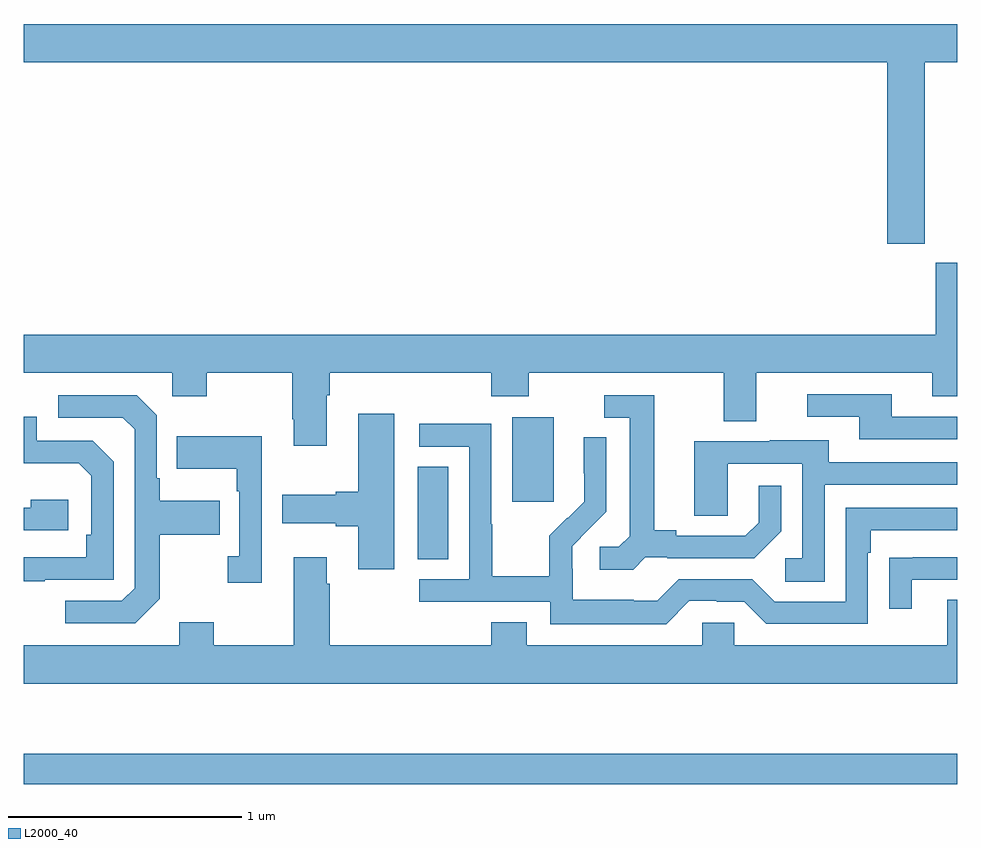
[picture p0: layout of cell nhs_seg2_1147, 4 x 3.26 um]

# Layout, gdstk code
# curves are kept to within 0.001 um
import gdstk
lib = gdstk.Library(unit=1e-6, precision=1e-09)
def R(c, l, rs):  # rectangles x0, y0, x1, y1
    for r in rs: c.add(gdstk.rectangle(r[:2], r[2:], *l))
def P(c, l, *ps):  # polygons
    for p in ps: c.add(gdstk.Polygon(p, *l))
L2000_40 = (2000, 40)

nhs_seg2_1147 = lib.new_cell('nhs_seg2_1147')
R(nhs_seg2_1147, L2000_40, [(171,601.918,175,602.047), (172.688,602.881,172.819,603.278), (173.093,603.129,173.272,603.49)])
P(nhs_seg2_1147, L2000_40, [(174.861,605.012),(175,605.012),(175,605.176),(171,605.176),(171,605.012),(174.701,605.012),(174.701,604.233),(174.861,604.233)],
  [(172.297,603.584),(172.31,603.584),(172.31,603.68),(173.003,603.68),(173.003,603.581),(173.163,603.581),(173.163,603.68),(173.999,603.68),(173.999,603.472),(174.139,603.472),(174.139,603.68),(174.893,603.68),(174.893,603.581),(175,603.581),(175,604.153),(174.908,604.153),(174.908,603.844),(171,603.844),(171,603.68),(171.636,603.68),(171.636,603.581),(171.783,603.581),(171.783,603.68),(172.15,603.68),(172.15,603.481),(172.157,603.481),(172.157,603.369),(172.297,603.369)],
  [(175,603.492),(174.721,603.492),(174.721,603.588),(174.357,603.588),(174.357,603.492),(174.581,603.492),(174.581,603.396),(175,603.396)],
  [(171.583,602.713),(171.583,602.986),(171.839,602.986),(171.839,603.133),(171.583,603.133),(171.583,603.229),(171.57,603.229),(171.57,603.498),(171.483,603.585),(171.147,603.585),(171.147,603.489),(171.423,603.489),(171.474,603.438),(171.474,602.757),(171.42,602.703),(171.177,602.703),(171.177,602.607),(171.477,602.607)],
  [(173.664,602.889),(173.758,602.889),(173.758,602.886),(174.13,602.886),(174.246,603.002),(174.246,603.196),(174.149,603.196),(174.149,603.039),(174.092,602.982),(173.797,602.982),(173.797,603.005),(173.701,603.005),(173.701,603.585),(173.487,603.585),(173.487,603.489),(173.597,603.489),(173.597,602.981),(173.55,602.934),(173.469,602.934),(173.469,602.837),(173.612,602.837)],
  [(172.588,603.505),(172.433,603.505),(172.433,603.17),(172.337,603.17),(172.337,603.157),(172.107,603.157),(172.107,603.035),(172.337,603.035),(172.337,603.023),(172.433,603.023),(172.433,602.838),(172.588,602.838)],
  [(171.089,602.793),(171.384,602.793),(171.384,603.3),(171.294,603.39),(171.054,603.39),(171.054,603.492),(171,603.492),(171,603.293),(171.235,603.293),(171.288,603.24),(171.288,602.986),(171.268,602.986),(171.268,602.889),(171,602.889),(171,602.788),(171.089,602.788)],
  [(173.853,602.703),(173.969,602.703),(173.969,602.7),(174.087,602.7),(174.183,602.604),(174.618,602.604),(174.618,602.909),(174.631,602.909),(174.631,603.006),(175,603.006),(175,603.102),(174.522,603.102),(174.522,602.7),(174.219,602.7),(174.123,602.796),(173.808,602.796),(173.715,602.703),(173.615,602.703),(173.615,602.707),(173.352,602.707),(173.352,602.841),(173.35,602.841),(173.35,602.938),(173.496,603.086),(173.496,603.404),(173.4,603.404),(173.4,603.25),(173.402,603.25),(173.402,603.128),(173.331,603.057),(173.328,603.06),(173.251,602.983),(173.251,602.809),(173.007,602.809),(173.007,603.032),(173.004,603.032),(173.004,603.462),(172.695,603.462),(172.695,603.363),(172.908,603.363),(172.908,602.796),(172.695,602.796),(172.695,602.7),(173.256,602.7),(173.256,602.603),(173.753,602.603)],
  [(172.02,603.409),(171.655,603.409),(171.655,603.269),(171.912,603.269),(171.912,603.173),(171.924,603.173),(171.924,602.894),(171.873,602.894),(171.873,602.781),(172.02,602.781)],
  [(174.432,603.201),(175,603.201),(175,603.297),(174.451,603.297),(174.451,603.391),(174.197,603.391),(174.197,603.387),(173.873,603.387),(173.873,603.067),(174.018,603.067),(174.018,603.291),(174.336,603.291),(174.336,602.886),(174.264,602.886),(174.264,602.785),(174.432,602.785)],
  [(171.19,603.136),(171.029,603.136),(171.029,603.102),(171,603.102),(171,603.006),(171.19,603.006)],
  [(175,602.707),(174.959,602.707),(174.959,602.512),(174.045,602.512),(174.045,602.61),(173.907,602.61),(173.907,602.512),(173.155,602.512),(173.155,602.611),(173.003,602.611),(173.003,602.512),(172.31,602.512),(172.31,602.777),(172.297,602.777),(172.297,602.89),(172.157,602.89),(172.157,602.512),(171.813,602.512),(171.813,602.611),(171.665,602.611),(171.665,602.512),(171,602.512),(171,602.348),(175,602.348)],
  [(174.805,602.793),(175,602.793),(175,602.889),(174.811,602.889),(174.811,602.888),(174.709,602.888),(174.709,602.67),(174.805,602.67)])

lib.write_gds('nhs_seg2_1147.gds')
